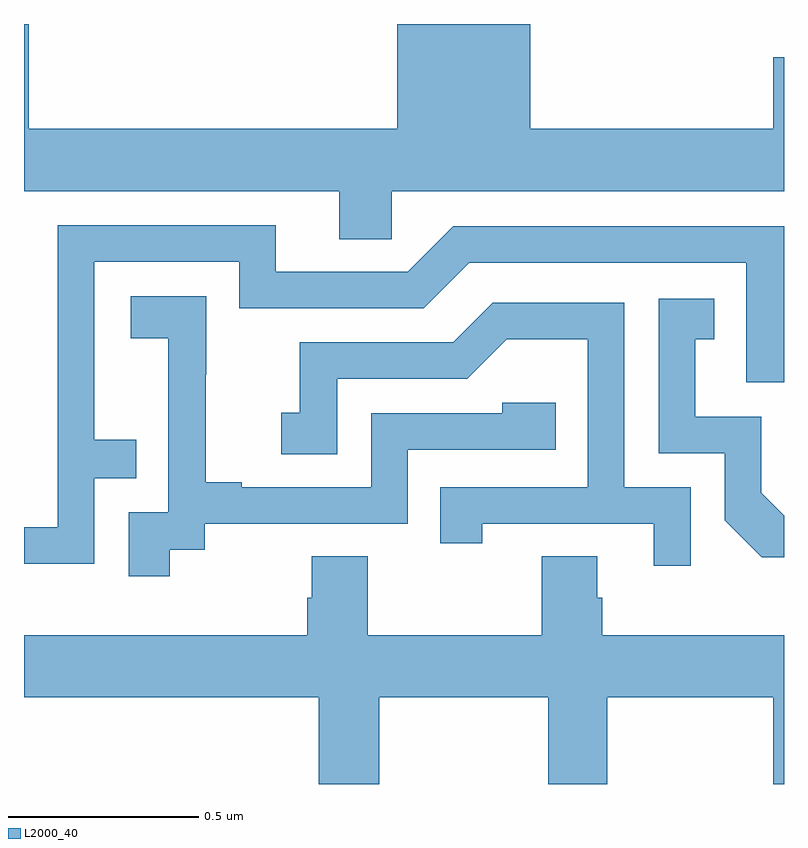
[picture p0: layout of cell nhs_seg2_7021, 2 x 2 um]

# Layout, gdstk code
import gdstk
lib = gdstk.Library(unit=1e-6, precision=1e-09)
def P(c, l, *ps):  # polygons
    for p in ps: c.add(gdstk.Polygon(p, *l))
L2000_40 = (2000, 40)

nhs_seg2_7021 = lib.new_cell('nhs_seg2_7021')
P(nhs_seg2_7021, L2000_40, [(201,590.713),(200.972,590.713),(200.972,590.524),(200.332,590.524),(200.332,590.8),(199.982,590.8),(199.982,590.524),(199.012,590.524),(199.012,590.8),(199,590.8),(199,590.36),(199.829,590.36),(199.829,590.233),(199.968,590.233),(199.968,590.36),(201,590.36)],
  [(199.185,589.605),(199.295,589.605),(199.295,589.706),(199.185,589.706),(199.185,590.175),(199.566,590.175),(199.566,590.052),(200.052,590.052),(200.172,590.172),(200.901,590.172),(200.901,589.857),(201,589.857),(201,590.268),(200.13,590.268),(200.01,590.148),(199.663,590.148),(199.663,590.271),(199.089,590.271),(199.089,589.476),(199,589.476),(199,589.38),(199.185,589.38)],
  [(199.384,589.417),(199.476,589.417),(199.476,589.485),(200.01,589.485),(200.01,589.68),(200.399,589.68),(200.399,589.803),(200.259,589.803),(200.259,589.776),(199.914,589.776),(199.914,589.581),(199.573,589.581),(199.573,589.594),(199.478,589.594),(199.478,589.877),(199.479,589.877),(199.479,590.083),(199.281,590.083),(199.281,589.973),(199.379,589.973),(199.379,589.745),(199.38,589.745),(199.38,589.515),(199.275,589.515),(199.275,589.347),(199.384,589.347)],
  [(201,589.506),(200.94,589.566),(200.94,589.767),(200.767,589.767),(200.767,589.971),(200.816,589.971),(200.816,590.077),(200.67,590.077),(200.67,589.671),(200.844,589.671),(200.844,589.494),(200.942,589.397),(201,589.397)],
  [(200.754,589.581),(200.58,589.581),(200.58,590.067),(200.234,590.067),(200.129,589.962),(199.726,589.962),(199.726,589.777),(199.677,589.777),(199.677,589.668),(199.824,589.668),(199.824,589.866),(200.166,589.866),(200.27,589.97),(200.484,589.97),(200.484,589.581),(200.095,589.581),(200.095,589.434),(200.206,589.434),(200.206,589.485),(200.657,589.485),(200.657,589.374),(200.754,589.374)],
  [(199.935,589.028),(200.38,589.028),(200.38,588.8),(200.535,588.8),(200.535,589.028),(200.972,589.028),(200.972,588.8),(201,588.8),(201,589.192),(200.522,589.192),(200.522,589.29),(200.509,589.29),(200.509,589.4),(200.362,589.4),(200.362,589.192),(199.905,589.192),(199.905,589.4),(199.757,589.4),(199.757,589.29),(199.745,589.29),(199.745,589.192),(199,589.192),(199,589.028),(199.775,589.028),(199.775,588.8),(199.935,588.8)])

lib.write_gds('nhs_seg2_7021.gds')
